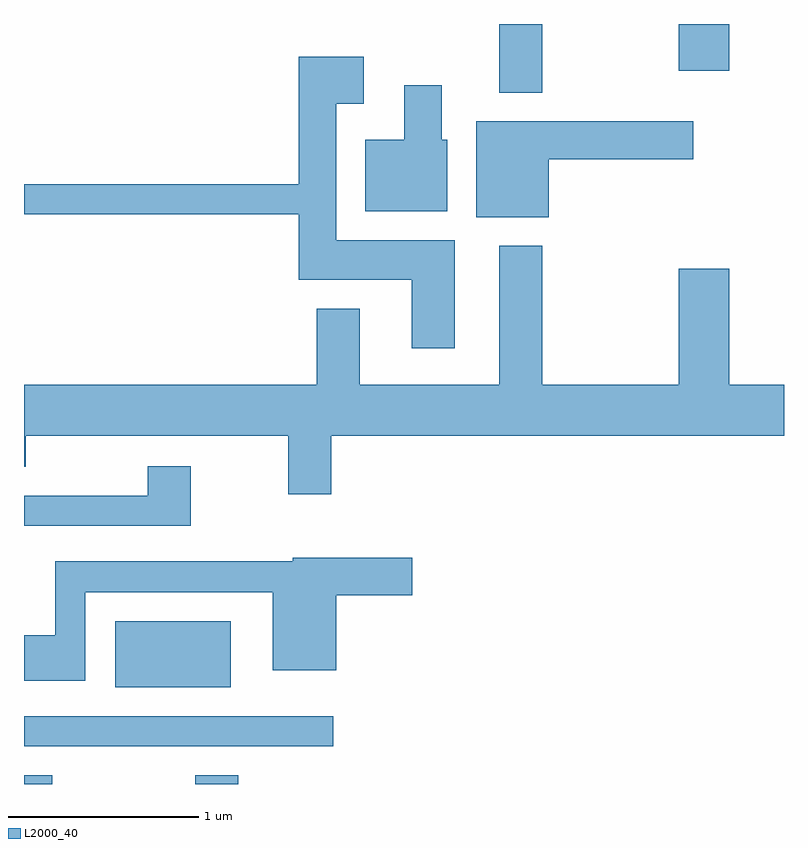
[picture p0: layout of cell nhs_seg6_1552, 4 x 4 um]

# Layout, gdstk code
import gdstk
lib = gdstk.Library(unit=1e-6, precision=1e-09)
def R(c, l, rs):  # rectangles x0, y0, x1, y1
    for r in rs: c.add(gdstk.rectangle(r[:2], r[2:], *l))
def P(c, l, *ps):  # polygons
    for p in ps: c.add(gdstk.Polygon(p, *l))
L2000_40 = (2000, 40)

nhs_seg6_1552 = lib.new_cell('nhs_seg6_1552')
R(nhs_seg6_1552, L2000_40, [(231.611,1588.162,231.759,1588.209), (232.511,1588.162,232.739,1588.209), (231.611,1588.361,233.238,1588.519), (232.091,1588.671,232.699,1589.019), (234.111,1591.801,234.339,1592.162), (235.056,1591.916,235.324,1592.162)])
P(nhs_seg6_1552, L2000_40, [(233.879,1591.024),(233.254,1591.024),(233.254,1591.741),(233.399,1591.741),(233.399,1591.989),(233.056,1591.989),(233.056,1591.319),(231.611,1591.319),(231.611,1591.161),(233.056,1591.161),(233.056,1590.816),(233.651,1590.816),(233.651,1590.456),(233.879,1590.456)],
  [(233.839,1591.554),(233.809,1591.554),(233.809,1591.839),(233.611,1591.839),(233.611,1591.554),(233.406,1591.554),(233.406,1591.176),(233.839,1591.176)],
  [(234.374,1591.451),(235.134,1591.451),(235.134,1591.649),(233.991,1591.649),(233.991,1591.146),(234.374,1591.146)],
  [(233.229,1589.996),(235.611,1589.996),(235.611,1590.264),(235.324,1590.264),(235.324,1590.874),(235.056,1590.874),(235.056,1590.264),(234.339,1590.264),(234.339,1590.994),(234.111,1590.994),(234.111,1590.264),(233.379,1590.264),(233.379,1590.664),(233.151,1590.664),(233.151,1590.264),(231.611,1590.264),(231.611,1589.831),(231.619,1589.831),(231.619,1589.996),(233.001,1589.996),(233.001,1589.686),(233.229,1589.686)],
  [(232.489,1589.834),(232.261,1589.834),(232.261,1589.679),(231.611,1589.679),(231.611,1589.521),(232.489,1589.521)],
  [(231.934,1589.171),(232.921,1589.171),(232.921,1588.761),(233.254,1588.761),(233.254,1589.156),(233.654,1589.156),(233.654,1589.354),(233.026,1589.354),(233.026,1589.334),(231.776,1589.334),(231.776,1588.944),(231.611,1588.944),(231.611,1588.706),(231.934,1588.706)])

lib.write_gds('nhs_seg6_1552.gds')
